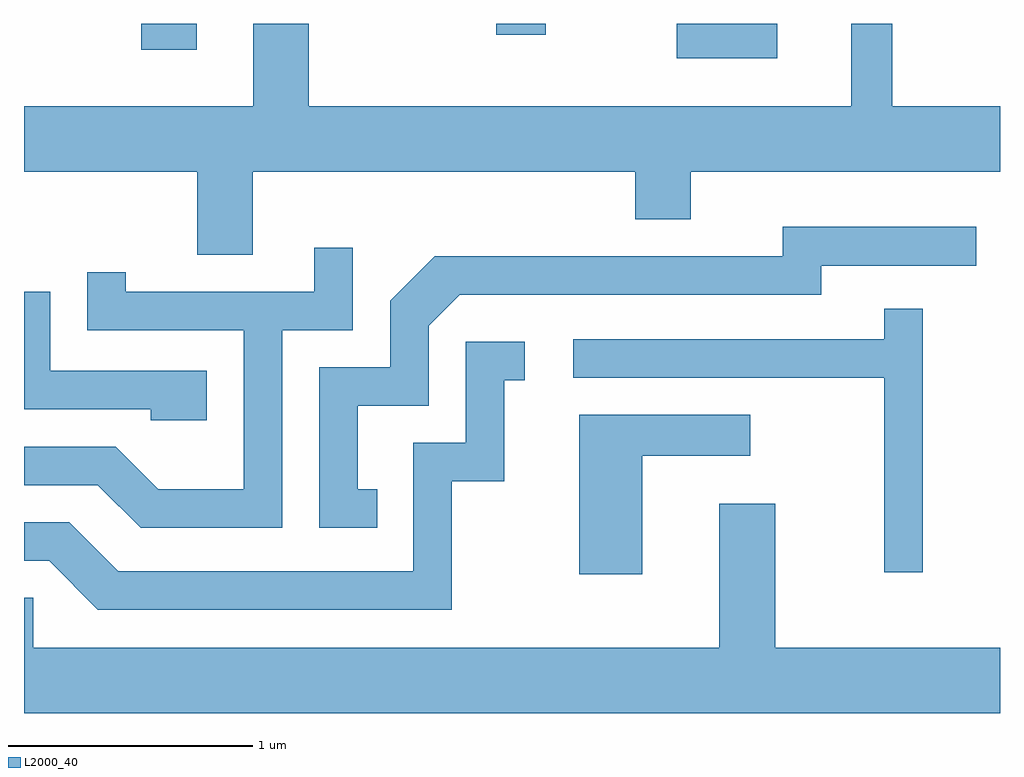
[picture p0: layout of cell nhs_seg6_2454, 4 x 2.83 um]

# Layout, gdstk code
import gdstk
lib = gdstk.Library(unit=1e-6, precision=1e-09)
def R(c, l, rs):  # rectangles x0, y0, x1, y1
    for r in rs: c.add(gdstk.rectangle(r[:2], r[2:], *l))
def P(c, l, *ps):  # polygons
    for p in ps: c.add(gdstk.Polygon(p, *l))
L2000_40 = (2000, 40)

nhs_seg6_2454 = lib.new_cell('nhs_seg6_2454')
R(nhs_seg6_2454, L2000_40, [(262.286,1586.021,262.699,1586.162), (260.091,1586.056,260.319,1586.162), (261.546,1586.116,261.749,1586.162)])
P(nhs_seg6_2454, L2000_40, [(260.549,1585.556),(262.116,1585.556),(262.116,1585.361),(262.344,1585.361),(262.344,1585.556),(263.611,1585.556),(263.611,1585.824),(263.169,1585.824),(263.169,1586.162),(263.001,1586.162),(263.001,1585.824),(260.779,1585.824),(260.779,1586.162),(260.551,1586.162),(260.551,1585.824),(259.611,1585.824),(259.611,1585.556),(260.321,1585.556),(260.321,1585.216),(260.549,1585.216)],
  [(261.058,1584.254),(260.979,1584.254),(260.979,1584.596),(261.269,1584.596),(261.269,1584.924),(261.397,1585.051),(262.879,1585.051),(262.879,1585.171),(263.513,1585.171),(263.513,1585.329),(262.721,1585.329),(262.721,1585.209),(261.294,1585.209),(261.111,1585.027),(261.111,1584.754),(260.821,1584.754),(260.821,1584.096),(261.058,1584.096)],
  [(260.669,1584.906),(260.959,1584.906),(260.959,1585.243),(260.801,1585.243),(260.801,1585.064),(260.029,1585.064),(260.029,1585.143),(259.871,1585.143),(259.871,1584.906),(260.511,1584.906),(260.511,1584.254),(260.162,1584.254),(259.986,1584.429),(259.611,1584.429),(259.611,1584.271),(259.914,1584.271),(260.089,1584.096),(260.669,1584.096)],
  [(260.359,1584.739),(259.719,1584.739),(259.719,1585.064),(259.611,1585.064),(259.611,1584.581),(260.131,1584.581),(260.131,1584.536),(260.359,1584.536)],
  [(263.294,1584.993),(263.136,1584.993),(263.136,1584.869),(261.863,1584.869),(261.863,1584.711),(263.136,1584.711),(263.136,1583.913),(263.294,1583.913)],
  [(261.364,1584.286),(261.579,1584.286),(261.579,1584.701),(261.663,1584.701),(261.663,1584.859),(261.421,1584.859),(261.421,1584.444),(261.206,1584.444),(261.206,1583.919),(259.997,1583.919),(259.796,1584.119),(259.611,1584.119),(259.611,1583.961),(259.714,1583.961),(259.914,1583.761),(261.364,1583.761)],
  [(262.144,1584.391),(262.588,1584.391),(262.588,1584.559),(261.886,1584.559),(261.886,1583.906),(262.144,1583.906)],
  [(263.611,1583.604),(262.689,1583.604),(262.689,1584.194),(262.461,1584.194),(262.461,1583.604),(259.649,1583.604),(259.649,1583.809),(259.611,1583.809),(259.611,1583.336),(263.611,1583.336)])

lib.write_gds('nhs_seg6_2454.gds')
